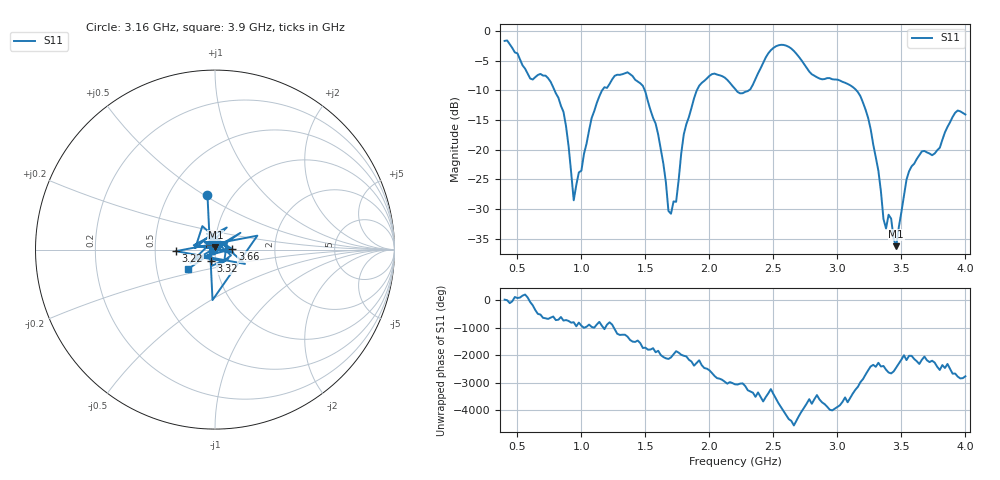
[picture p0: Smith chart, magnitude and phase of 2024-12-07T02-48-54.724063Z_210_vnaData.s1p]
!Created with skrf (http://scikit-rf.org).
# Hz S RI R 50.0
!freq ReS11 ImS11
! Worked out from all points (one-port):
!   181 points, 400 MHz to 4 GHz, reference 50 ohm
!   lowest |S11| = -36.3 dB at 3.46 GHz (marker M1), VSWR 1.03, Z = 50.2 + j1.53 ohm
!   |S11| at or under -10 dB: 789.6 MHz to 1.163 GHz (373.1 MHz wide, 38.2 % of centre); 1.495 GHz to 1.902 GHz (407.7 MHz wide, 24 % of centre); 3.147 GHz to end of sweep (the widest 3 of 4)
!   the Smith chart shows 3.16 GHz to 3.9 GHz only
!   S11 on the Smith chart (normalised r, x): 3.16 GHz: 0.77, +0.51; 3.22 GHz: 0.64, -0.01; 3.32 GHz: 0.95, -0.12; 3.66 GHz: 1.21, +0.01; 3.9 GHz: 0.72, -0.16
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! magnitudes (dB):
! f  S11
! 400 MHz  -1.7
! 740 MHz  -8.0
! 860 MHz  -13.7
! 940 MHz  -28.5
! 1.12 GHz  -12.2
! 1.3 GHz  -7.4
! 1.5 GHz  -10.3
! 1.6 GHz  -17.5
! 1.68 GHz  -30.3
! 1.76 GHz  -25.1
! 1.8 GHz  -17.4
! 1.92 GHz  -9.3
! 2.2 GHz  -9.8
! 2.32 GHz  -9.8
! 2.52 GHz  -2.6
! 2.66 GHz  -3.4
! 3.1 GHz  -9.2
! 3.16 GHz  -10.3
! 3.22 GHz  -13.3
! 3.32 GHz  -23.5
! 3.36 GHz  -31.7
! 3.42 GHz  -31.6
! 3.46 GHz  -36.3
! 3.56 GHz  -23.6
! 3.66 GHz  -20.3
! 3.76 GHz  -20.7
! 3.9 GHz  -14.5
! 4 GHz  -14.1
